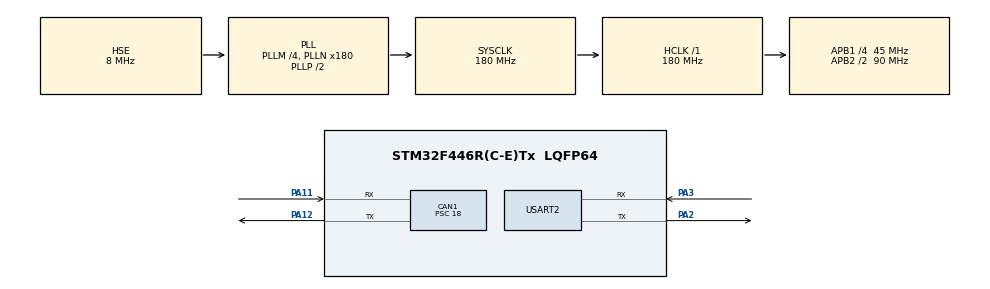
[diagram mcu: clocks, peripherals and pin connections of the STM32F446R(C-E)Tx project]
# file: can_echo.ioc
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CAN1.ABOM=ENABLE
CAN1.AWUM=DISABLE
CAN1.BS1=CAN_BS1_2TQ
CAN1.BS2=CAN_BS2_2TQ
CAN1.CalculateBaudRate=500000
CAN1.CalculateTimeBit=2000
CAN1.CalculateTimeQuantum=400.0
CAN1.NART=ENABLE
CAN1.Prescaler=18
Mcu.Family=STM32F4
Mcu.Name=STM32F446R(C-E)Tx
Mcu.Package=LQFP64
NVIC.CAN1_RX0_IRQn=true\:0\:0\:false\:false\:true\:true\:true\:true
NVIC.CAN1_TX_IRQn=true\:0\:0\:false\:false\:true\:true\:true\:true
NVIC.PriorityGroup=NVIC_PRIORITYGROUP_4
PA11.GPIO_PuPd=GPIO_NOPULL
PA11.Mode=CAN_Activate
PA11.Signal=CAN1_RX
PA12.GPIO_PuPd=GPIO_NOPULL
PA12.Mode=CAN_Activate
PA12.Signal=CAN1_TX
PA2.Mode=Asynchronous
PA2.Signal=USART2_TX
PA3.Mode=Asynchronous
PA3.Signal=USART2_RX
PH0-OSC_IN.Mode=HSE-External-Oscillator
PH0-OSC_IN.Signal=RCC_OSC_IN
PH1-OSC_OUT.Mode=HSE-External-Oscillator
PH1-OSC_OUT.Signal=RCC_OSC_OUT
ProjectManager.HeapSize=0x200
ProjectManager.StackSize=0x400
ProjectManager.TargetToolchain=STM32CubeIDE
RCC.AHBFreq_Value=180000000
RCC.APB1CLKDivider=RCC_HCLK_DIV4
RCC.APB1Freq_Value=45000000
RCC.APB1TimFreq_Value=90000000
RCC.APB2CLKDivider=RCC_HCLK_DIV2
RCC.APB2Freq_Value=90000000
RCC.APB2TimFreq_Value=180000000
RCC.CortexFreq_Value=180000000
RCC.HCLKFreq_Value=180000000
RCC.HSE_VALUE=8000000
RCC.PLLM=4
RCC.PLLN=180
RCC.PLLSourceVirtual=RCC_PLLSOURCE_HSE
RCC.SYSCLKFreq_VALUE=180000000
RCC.SYSCLKSource=RCC_SYSCLKSOURCE_PLLCLK
RCC.USBFreq_Value=180000000
RCC.VCOOutputFreq_Value=360000000
USART2.VirtualMode=VM_ASYNC
board=custom

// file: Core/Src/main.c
/* USER CODE BEGIN Header */
/**
  ******************************************************************************
  * @file           : main.c
  * @brief          : Main program body
  ******************************************************************************
  * @attention
  *
  * Copyright (c) 2022 STMicroelectronics.
  * All rights reserved.
  *
  * This software is licensed under terms that can be found in the LICENSE file
  * in the root directory of this software component.
  * If no LICENSE file comes with this software, it is provided AS-IS.
  *
  ******************************************************************************
  */
/* USER CODE END Header */
#include "main.h"

CAN_HandleTypeDef hcan1;

UART_HandleTypeDef huart2;

/* USER CODE BEGIN PV */
//CAN1
CAN_FilterTypeDef canFilter1;
CAN_RxHeaderTypeDef can1RxHeader;
CAN_TxHeaderTypeDef can1TxHeader;

// Related to CAN commuication
uint8_t can1Rx0Data[8];
uint32_t TxMailBox1;
uint8_t can1Tx0Data[8];
volatile uint8_t can1_rx0_flag = 0;

/* USER CODE END PV */

void SystemClock_Config(void);
static void MX_GPIO_Init(void);
static void MX_CAN1_Init(void);
static void MX_USART2_UART_Init(void);
/* USER CODE BEGIN PFP */
void CanSendMssg(void);
void CanRecvMssg(void);
void HAL_CAN_RxFifo1MsgPendingCallback(CAN_HandleTypeDef *hcan);
void CAN_Filter_Init(void);
void CAN_Send(uint8_t ID, uint8_t data0, uint8_t data1, uint8_t data2, uint8_t data3, uint8_t data4, uint8_t data5, uint8_t data6, uint8_t data7);

/* USER CODE END PFP */

int main(void)
{

  /* MCU Configuration--------------------------------------------------------*/

  /* Reset of all peripherals, Initializes the Flash interface and the Systick. */
  HAL_Init();

  /* Configure the system clock */
  SystemClock_Config();

  /* Initialize all configured peripherals */
  MX_GPIO_Init();
  MX_CAN1_Init();
  MX_USART2_UART_Init();
  /* USER CODE BEGIN 2 */
  CAN_Filter_Init();
  /* USER CODE END 2 */

  /* Infinite loop */
  /* USER CODE BEGIN WHILE */
  uint8_t outer[6] = {79, 85, 84, 13, 10, 0};
  while (1)
  {
	  //CanSendMssg();
	  //CanRecvMssg();
	  //HAL_UART_Transmit(&huart2, outer, 6, 10);
	  //HAL_Delay(1000);
	  CAN_Send(0x10, 0, 2, 3, 4, 5, 6, 7, 0);

	  if (can1_rx0_flag == 1) {
		  can1_rx0_flag = 0;
		  HAL_UART_Transmit(&huart2, outer, 6, 10);
	  }

	  HAL_Delay(100);
    /* USER CODE END WHILE */

  }
}

void SystemClock_Config(void)
{
  RCC_OscInitTypeDef RCC_OscInitStruct = {0};
  RCC_ClkInitTypeDef RCC_ClkInitStruct = {0};

  /** Configure the main internal regulator output voltage
  */
  __HAL_RCC_PWR_CLK_ENABLE();
  __HAL_PWR_VOLTAGESCALING_CONFIG(PWR_REGULATOR_VOLTAGE_SCALE1);

  /** Initializes the RCC Oscillators according to the specified parameters
  * in the RCC_OscInitTypeDef structure.
  */
  RCC_OscInitStruct.OscillatorType = RCC_OSCILLATORTYPE_HSE;
  RCC_OscInitStruct.HSEState = RCC_HSE_ON;
  RCC_OscInitStruct.PLL.PLLState = RCC_PLL_ON;
  RCC_OscInitStruct.PLL.PLLSource = RCC_PLLSOURCE_HSE;
  RCC_OscInitStruct.PLL.PLLM = 4;
  RCC_OscInitStruct.PLL.PLLN = 180;
  RCC_OscInitStruct.PLL.PLLP = RCC_PLLP_DIV2;
  RCC_OscInitStruct.PLL.PLLQ = 2;
  RCC_OscInitStruct.PLL.PLLR = 2;
  if (HAL_RCC_OscConfig(&RCC_OscInitStruct) != HAL_OK)
  {
    Error_Handler();
  }

  /** Activate the Over-Drive mode
  */
  if (HAL_PWREx_EnableOverDrive() != HAL_OK)
  {
    Error_Handler();
  }

  /** Initializes the CPU, AHB and APB buses clocks
  */
  RCC_ClkInitStruct.ClockType = RCC_CLOCKTYPE_HCLK|RCC_CLOCKTYPE_SYSCLK
                              |RCC_CLOCKTYPE_PCLK1|RCC_CLOCKTYPE_PCLK2;
  RCC_ClkInitStruct.SYSCLKSource = RCC_SYSCLKSOURCE_PLLCLK;
  RCC_ClkInitStruct.AHBCLKDivider = RCC_SYSCLK_DIV1;
  RCC_ClkInitStruct.APB1CLKDivider = RCC_HCLK_DIV4;
  RCC_ClkInitStruct.APB2CLKDivider = RCC_HCLK_DIV2;

  if (HAL_RCC_ClockConfig(&RCC_ClkInitStruct, FLASH_LATENCY_5) != HAL_OK)
  {
    Error_Handler();
  }
}

static void MX_CAN1_Init(void)
{

  hcan1.Instance = CAN1;
  hcan1.Init.Prescaler = 18;
  hcan1.Init.Mode = CAN_MODE_NORMAL;
  hcan1.Init.SyncJumpWidth = CAN_SJW_1TQ;
  hcan1.Init.TimeSeg1 = CAN_BS1_2TQ;
  hcan1.Init.TimeSeg2 = CAN_BS2_2TQ;
  hcan1.Init.TimeTriggeredMode = DISABLE;
  hcan1.Init.AutoBusOff = ENABLE;
  hcan1.Init.AutoWakeUp = DISABLE;
  hcan1.Init.AutoRetransmission = ENABLE;
  hcan1.Init.ReceiveFifoLocked = DISABLE;
  hcan1.Init.TransmitFifoPriority = DISABLE;
  if (HAL_CAN_Init(&hcan1) != HAL_OK)
  {
    Error_Handler();
  }
  /* USER CODE BEGIN CAN1_Init 2 */
  /*
  sFilterConfig.FilterBank = 0;
  sFilterConfig.FilterMode = CAN_FILTERMODE_IDMASK;
  sFilterConfig.FilterScale = CAN_FILTERSCALE_32BIT;
  sFilterConfig.FilterIdHigh = 0x0000;
  sFilterConfig.FilterIdLow = 0x0000;
  sFilterConfig.FilterMaskIdHigh = 0x0000;
  sFilterConfig.FilterMaskIdLow = 0x0000;
  sFilterConfig.FilterFIFOAssignment = CAN_RX_FIFO0;
  sFilterConfig.FilterActivation = ENABLE;
  sFilterConfig.SlaveStartFilterBank = 14;

  if(HAL_CAN_ConfigFilter(&hcan1, &sFilterConfig) != HAL_OK)
  {
    Error_Handler();
  }

  if (HAL_CAN_Start(&hcan1) != HAL_OK)
  {
    Error_Handler();
  }

  if (HAL_CAN_ActivateNotification(&hcan1, CAN_IT_RX_FIFO0_MSG_PENDING) != HAL_OK)
  {
    Error_Handler();
  }
  */
  /* USER CODE END CAN1_Init 2 */

}

static void MX_USART2_UART_Init(void)
{

  huart2.Instance = USART2;
  huart2.Init.BaudRate = 115200;
  huart2.Init.WordLength = UART_WORDLENGTH_8B;
  huart2.Init.StopBits = UART_STOPBITS_1;
  huart2.Init.Parity = UART_PARITY_NONE;
  huart2.Init.Mode = UART_MODE_TX_RX;
  huart2.Init.HwFlowCtl = UART_HWCONTROL_NONE;
  huart2.Init.OverSampling = UART_OVERSAMPLING_16;
  if (HAL_UART_Init(&huart2) != HAL_OK)
  {
    Error_Handler();
  }

}

static void MX_GPIO_Init(void)
{

  /* GPIO Ports Clock Enable */
  __HAL_RCC_GPIOH_CLK_ENABLE();
  __HAL_RCC_GPIOA_CLK_ENABLE();

}

/* USER CODE BEGIN 4 */
void CAN_Filter_Init(void)
{
	//Set the CAN Filter which has Mask Ids
	//CAN Filter1
	//Receiving CAN data via 0x102~0x10E
	canFilter1.FilterMaskIdHigh = 0x7F3 << 5; // Shift 5 bit
	canFilter1.FilterIdHigh = 0x106 << 5;
	canFilter1.FilterMaskIdLow = 0x7F3 << 5; // Shift 5 bit
	canFilter1.FilterIdLow = 0x106 << 5;
	canFilter1.FilterMode = CAN_FILTERMODE_IDMASK;
	canFilter1.FilterScale = CAN_FILTERSCALE_16BIT;
	canFilter1.FilterFIFOAssignment = CAN_FILTER_FIFO0;
	canFilter1.FilterBank = 0;
	canFilter1.FilterActivation = ENABLE;

	/* Set options for messages; ID type(standard), Length(8 byte) */
	can1TxHeader.RTR = CAN_RTR_DATA;
	can1TxHeader.IDE = CAN_ID_STD;
	can1TxHeader.DLC = 8;

	HAL_CAN_ConfigFilter(&hcan1, &canFilter1);
	HAL_CAN_ActivateNotification(&hcan1, CAN_IT_RX_FIFO0_MSG_PENDING);
	HAL_CAN_Start(&hcan1);
}

void CAN_Send(uint8_t ID, uint8_t data0, uint8_t data1, uint8_t data2, uint8_t data3, uint8_t data4, uint8_t data5, uint8_t data6, uint8_t data7)
{
	  /* Set options for messages; Address */
	  can1TxHeader.StdId = ID;

	  can1Tx0Data[7] = 21;
	  can1Tx0Data[6] = 56;
	  can1Tx0Data[5] = 54;
	  can1Tx0Data[4] = 27;
	  can1Tx0Data[3] = 89;
	  can1Tx0Data[2] = 211;
	  can1Tx0Data[1] = 243;
	  can1Tx0Data[0] = 23;

	  TxMailBox1 = HAL_CAN_GetTxMailboxesFreeLevel(&hcan1);
	  HAL_CAN_AddTxMessage(&hcan1, &can1TxHeader, &can1Tx0Data[0], &TxMailBox1);
}

/* Receiving CAN Data */
/* Get CAN1 message Through FIFO0 */
void HAL_CAN_RxFifo0MsgPendingCallback(CAN_HandleTypeDef *hcan)
{
	if(hcan->Instance == CAN1)
	{
		HAL_CAN_GetRxMessage(&hcan1, CAN_RX_FIFO0, &can1RxHeader, &can1Rx0Data[0]);

		can1_rx0_flag = 1;
	}

}
/*
void CanSendMssg(void) {
	  TxHeader.StdId = 0x11;
	  TxHeader.RTR = CAN_RTR_DATA;
	  TxHeader.IDE = CAN_ID_STD;
	  TxHeader.DLC = 2;
	  TxHeader.TransmitGlobalTime = DISABLE;
	  TxData[0] = 0xCA;
	  TxData[1] = 0xFE;

	  uint8_t trysend[10] = {84, 82, 89, 83, 69, 78, 68, 13, 10, 0};
	  HAL_UART_Transmit(&huart2, trysend, 10, 10);

	  uint8_t txbox[7] = {84, 88, 66, 88, 13, 10, 0};
	  if(HAL_CAN_GetTxMailboxesFreeLevel(&hcan1) == 0) {
		  HAL_UART_Transmit(&huart2, txbox, 7, 10);
		  return;
	  }

	  uint8_t sendfail[11] = {83, 69, 78, 68, 70, 65, 73, 76, 13, 10, 0};
	  if(HAL_CAN_AddTxMessage(&hcan1, &TxHeader, TxData, &TxMailbox) != HAL_OK)
	  {

		HAL_UART_Transmit(&huart2, sendfail, 11, 10);
	  }

	  //return HAL_OK;
}

void CanRecvMssg(void) {
	uint8_t aa[7] = {70, 70, 70, 70, 13, 10, 0};
	if(HAL_CAN_GetRxFifoFillLevel(&hcan1, CAN_RX_FIFO0) == 0)
	{
		HAL_UART_Transmit(&huart2, aa, 7, 10);
	}

	uint8_t recvfail[11] = {82, 69, 67, 86, 70, 65, 73, 76, 13, 10, 0};
	if(HAL_CAN_GetRxMessage(&hcan1, CAN_RX_FIFO0, &RxHeader, RxData) != HAL_OK)
	{

		HAL_UART_Transmit(&huart2, recvfail, 11, 10);
	}

	if((RxHeader.StdId != 0x11)                     ||
	   (RxHeader.RTR != CAN_RTR_DATA)               ||
	   (RxHeader.IDE != CAN_ID_STD)                 ||
	   (RxHeader.DLC != 2))
	{

		//return HAL_ERROR;
	}

	HAL_UART_Transmit(&huart2, RxData, 2, 10);

	//return HAL_OK;
}
*/
/*
void HAL_CAN_RxFifo1MsgPendingCallback(CAN_HandleTypeDef *hcan)
{
	CanRecvMssg();
}
*/
/* USER CODE END 4 */

void Error_Handler(void)
{
  __disable_irq();
  while (1)
  {
  }
}
